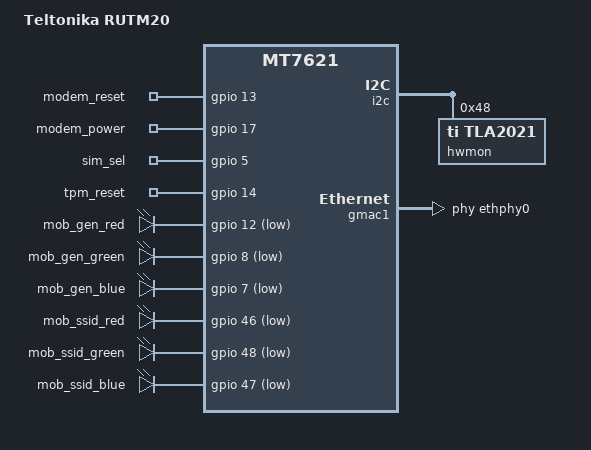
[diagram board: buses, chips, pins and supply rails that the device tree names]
#include "common-mt7621/rutm.dtsi"
#include "common-mt7621/eth/1-lan-port.dtsi"
#include "common-mt7621/tpm.dtsi"

// PWR, RST |G0|G10|
// ETH      |G41-G43|G45|
// 4G       |G5|G7|G8|G12|G13|G17|G46-G48|
// MISC     |G6|G14|G16|G18|G44|
/ {
	model = "Teltonika RUTM20";

	gpio-export {
		compatible = "gpio-export";
		#size-cells = <0>;

		gpio_modem_reset {
			gpio-export,name = "modem_reset";
			gpio-export,output = <0>;
			gpios = <&gpio 13 GPIO_ACTIVE_HIGH>;
		};

		gpio_modem_power {
			gpio-export,name = "modem_power";
			gpio-export,output = <1>; // tmp
			gpios = <&gpio 17 GPIO_ACTIVE_HIGH>;
		};

		gpio_sim_select {
			gpio-export,name = "sim_sel";
			gpio-export,output = <0>;
			gpios = <&gpio 5 GPIO_ACTIVE_HIGH>;
		};

		gpio_tpm_reset {
			gpio-export,name = "tpm_reset";
			gpio-export,output = <1>;
			gpios = <&gpio 14 GPIO_ACTIVE_HIGH>;
		};
	};

	leds {
		led_gen_red {
			label = "mob_gen_red";
			gpios = <&gpio 12 GPIO_ACTIVE_LOW>;
		};

		led_gen_green {
			label = "mob_gen_green";
			gpios = <&gpio 8 GPIO_ACTIVE_LOW>;
		};

		led_gen_blue {
			label = "mob_gen_blue";
			gpios = <&gpio 7 GPIO_ACTIVE_LOW>;
		};

		led_ssid_red {
			label = "mob_ssid_red";
			gpios = <&gpio 46 GPIO_ACTIVE_LOW>;
			linux,default-trigger = "timer"; // only
		};

		led_ssid_green {
			label = "mob_ssid_green";
			gpios = <&gpio 48 GPIO_ACTIVE_LOW>;
			linux,default-trigger = "timer"; //only
		};

		led_ssid_blue {
			label = "mob_ssid_blue";
			gpios = <&gpio 47 GPIO_ACTIVE_LOW>;
			linux,default-trigger = "timer"; // only
		};
	};

	tlt_gpios {
		gpiochip_info {
			hw_0 {
				gpiochip_count = <3>;
				/delete-property/ gpiochip_3;
			};
		};

		poeman {
			GPIO_16 {
				line_name = "GPIO_4PIN_SIGNAL";
				//active_low
			};
			GPIO_18 {
				line_name = "GPIO_T2P_SIGNAL";
			};
			GPIO_6 {
				line_name = "GPIO_PG_SIGNAL";
			};
			GPIO_44 {
				line_name = "GPIO_PSE_EN";
			};
		};

		misc {
			GPIO_13 {
				line_name = "GPIO_MODEM_RESET_1";
			};
			GPIO_17 {
				line_name = "GPIO_MODEM_POWER_1";
			};
		};
	};

	poeman {
		bus = "/dev/i2c-0";
		pse_en = "GPIO_PSE_EN";
		budget@0 {
			GPIO_PG_SIGNAL = <0>;
			budget = <0>;
		};
		budget@1 {
			GPIO_T2P_SIGNAL = <0>;
			GPIO_PG_SIGNAL = <1>;
			budget = <30200>;
			allowed_deficit = <600>;
		};
		budget@2 {
			GPIO_T2P_SIGNAL = <1>;
			GPIO_PG_SIGNAL = <1>;
			budget = <15000>;
			max_port_power = <7000>;
			allowed_deficit = <300>;
		};
	};
};

&mnfinfo {
	sim_cfg {
		default = "1111100_1112000_1121200";
		keep-sim-presence;
	};
};

&i2c {
	hwmon@0x48 {
		compatible = "ti,tla2021";
		reg = <0x48>;
	};
};

&gmac1 {
	phy-handle = <&ethphy0>;
};

&ethphy0 {
	/delete-property/ interrupts;
};
